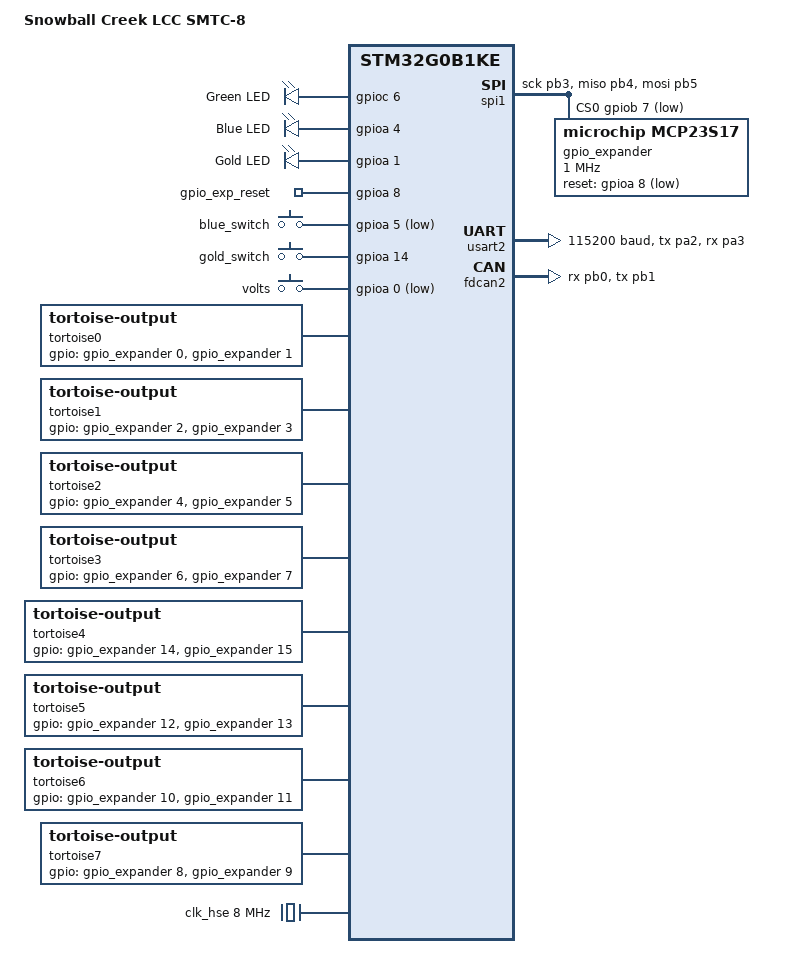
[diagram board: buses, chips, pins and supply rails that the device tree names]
/*
 * Copyright (c) 2024 Robert Middleton
 *
 * SPDX-License-Identifier: Apache-2.0
 */

/dts-v1/;
#include <st/g0/stm32g0b1Xe.dtsi>
#include <st/g0/stm32g0b1k(b-c-e)tx-pinctrl.dtsi>
#include <zephyr/dt-bindings/input/input-event-codes.h>
#include <zephyr/dt-bindings/pinctrl/stm32-pinctrl.h>
#include <zephyr/dt-bindings/pinctrl/stm32-pinctrl-common.h>

/* CPU: STM32G0B1KE
 * FLASH: 512k
 * SRAM: 128(parity-protected)/144(not parity-protected)
 */

/ {
	model = "Snowball Creek LCC SMTC-8";
	compatible = "st,stm32g0b1ke-smtc8";

	chosen {
		zephyr,console = &usart2;
		zephyr,shell-uart = &usart2;
		zephyr,uart-mcumgr = &usart2;
		zephyr,sram = &sram0;
		zephyr,flash = &flash0;
		zephyr,code-partition = &slot0_partition;
		zephyr,canbus = &fdcan2;
	};

	aliases {
		greenled = &green_led;
		blueled = &blue_led;
		goldled = &gold_led;
		blueswitch = &blue_switch;
		gpioreset = &gpio_exp_reset;
	};

	leds: leds {
		compatible = "gpio-leds";
		green_led: led_g {
			gpios = <&gpioc 6 GPIO_ACTIVE_HIGH>;
			label = "Green LED";
		};
		blue_led: led_b {
			gpios = <&gpioa 4 GPIO_ACTIVE_HIGH>;
			label = "Blue LED";
		};
		gold_led: led_gl {
			gpios = <&gpioa 1 GPIO_ACTIVE_HIGH>;
			label = "Gold LED";
		};

		gpio_exp_reset: foo {
			gpios = <&gpioa 8 GPIO_ACTIVE_HIGH>;
		};
	};

	gpio_keys {
		compatible = "gpio-keys";
		blue_switch: button_blue {
			label = "blue_switch";
			gpios = <&gpioa 5 (GPIO_ACTIVE_LOW | GPIO_PULL_UP)>;
		};
		gold_switch: button_gold {
			label = "gold_switch";
			gpios = <&gpioa 14 (GPIO_ACTIVE_HIGH | GPIO_PULL_DOWN)>;
		};
		volts: volts_0 {
			label = "volts";
			gpios = <&gpioa 0 (GPIO_ACTIVE_LOW)>;
		};
	};
};

/*
&clk_lsi {
	status = "okay";
};

&clk_hsi {
	status = "okay";
};

&clk_hsi48 {
	status = "okay";
	crs-usb-sof;
};
*/

&clk_hse {
	status = "okay";
	hse-bypass;
	clock-frequency = <DT_FREQ_M(8)>;
};

&pll {
	div-m = <1>;
	mul-n = <16>;
	div-p = <2>;
	div-q = <2>;
	div-r = <4>;
	clocks = <&clk_hse>;
	status = "okay";
};


&rcc {
	clocks = <&pll>;
	clock-frequency = <DT_FREQ_M(32)>;
	ahb-prescaler = <1>;
	apb1-prescaler = <1>;
};


/*
zephyr_udc0: &usb {
	pinctrl-0 = <&usb_dm_pa11 &usb_dp_pa12>;
	pinctrl-names = "default";
	status = "okay";
};
*/

/*
&usart1 {
	pinctrl-0 = <&usart1_tx_pc4 &usart1_rx_pc5>;
	pinctrl-names = "default";
	current-speed = <115200>;
	status = "disabled";
};
*/


/*
&rtc {
	clocks = <&rcc STM32_CLOCK_BUS_APB1 0x00000400>,
		 <&rcc STM32_SRC_LSI RTC_SEL(2)>;
	status = "okay";
};

&iwdg {
	status = "okay";
};
*/

&spi1 {
	pinctrl-0 = <&spi1_sck_pb3
		     &spi1_miso_pb4 &spi1_mosi_pb5>;
	pinctrl-names = "default";
	status = "okay";

	cs-gpios = <&gpiob 7 GPIO_ACTIVE_LOW>;

	gpio_expander: mcp23s17@0 {
		compatible = "microchip,mcp23s17";
		spi-max-frequency = <1000000>;
		reg = <0x0>;
		gpio-controller;
		#gpio-cells = <2>;
		ngpios = <16>;
		reset-gpios = <&gpioa 8 GPIO_ACTIVE_LOW>;
	};
};

&usart2 {
	pinctrl-0 = <&usart2_tx_pa2 &usart2_rx_pa3>;
	pinctrl-names = "default";
	current-speed = <115200>;
	status = "okay";
};

/ {
	tortoise0: tort0 {
		compatible = "tortoise-output";
		gpios = <&gpio_expander 0 GPIO_ACTIVE_HIGH>,
		        <&gpio_expander 1 GPIO_ACTIVE_HIGH>;
		status = "okay";
        };
	tortoise1: tort1 {
		compatible = "tortoise-output";
		gpios = <&gpio_expander 2 GPIO_ACTIVE_HIGH>,
		        <&gpio_expander 3 GPIO_ACTIVE_HIGH>;
		status = "okay";
        };
	tortoise2: tort2 {
		compatible = "tortoise-output";
		gpios = <&gpio_expander 4 GPIO_ACTIVE_HIGH>,
		        <&gpio_expander 5 GPIO_ACTIVE_HIGH>;
		status = "okay";
        };
	tortoise3: tort3 {
		compatible = "tortoise-output";
		gpios = <&gpio_expander 6 GPIO_ACTIVE_HIGH>,
		        <&gpio_expander 7 GPIO_ACTIVE_HIGH>;
		status = "okay";
        };
	tortoise4: tort4 {
		compatible = "tortoise-output";
		gpios = <&gpio_expander 14 GPIO_ACTIVE_HIGH>,
		        <&gpio_expander 15 GPIO_ACTIVE_HIGH>;
		status = "okay";
        };
	tortoise5: tort5 {
		compatible = "tortoise-output";
		gpios = <&gpio_expander 12 GPIO_ACTIVE_HIGH>,
		        <&gpio_expander 13 GPIO_ACTIVE_HIGH>;
		status = "okay";
        };
	tortoise6: tort6 {
		compatible = "tortoise-output";
		gpios = <&gpio_expander 10 GPIO_ACTIVE_HIGH>,
		        <&gpio_expander 11 GPIO_ACTIVE_HIGH>;
		status = "okay";
        };
	tortoise7: tort7 {
		compatible = "tortoise-output";
		gpios = <&gpio_expander 8 GPIO_ACTIVE_HIGH>,
		        <&gpio_expander 9 GPIO_ACTIVE_HIGH>;
		status = "okay";
        };
};

&flash0 {
	partitions {
		compatible = "fixed-partitions";
		#address-cells = <1>;
		#size-cells = <1>;

		boot_partition: partition@0 {
			label = "bootloader";
			reg = <0x00000000 DT_SIZE_K(32)>;
			read-only;
		};
		slot0_partition: partition@8000 {
			label = "image-0";
			reg = <0x00008000 DT_SIZE_K(128)>;
		};
		slot1_partition: partition@28000 {
			label = "image-1";
			reg = <0x00028000 DT_SIZE_K(128)>;
		};

		/*
		 * 2k reserved for app storage partition.
		 * This is used for configuration data.
		 */
		config_partition: partition@48000 {
			label = "config";
			reg = <0x00048000 DT_SIZE_K(2)>;
		};
		/*
		 * 2k for data that needs to be saved on shutdown.
		 * This is used for the current tortoise position.
		 */
		location_partition: partition@48800 {
			label = "location-partition";
			reg = <0x00048800 DT_SIZE_K(2)>;
		};
		/*
		 * 2k for LCC ID data
		 */
		lcc_partition: partition@49000 {
			label = "lcc-partition";
			reg = <0x00049000 DT_SIZE_K(2)>;
		};

		global_partition: partition@49800 {
			label = "global-partition";
			reg = <0x00049800 DT_SIZE_K(2)>;
		};
	};
};

&fdcan2 {
	clocks = <&rcc STM32_CLOCK_BUS_APB1 0x00001000>,
		 <&rcc STM32_SRC_PLL_Q FDCAN_SEL(1)>;
	pinctrl-0 = <&fdcan2_rx_pb0 &fdcan2_tx_pb1>;
	pinctrl-names = "default";
	status = "okay";
};
